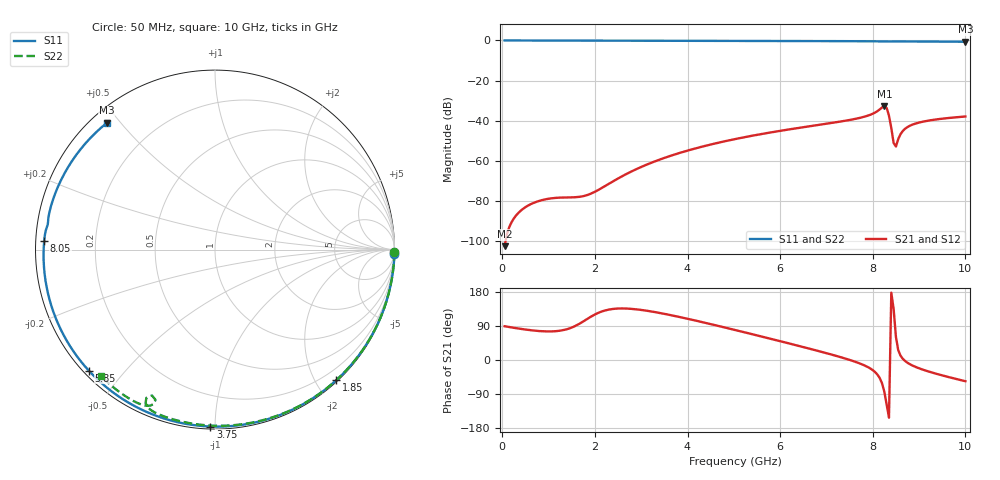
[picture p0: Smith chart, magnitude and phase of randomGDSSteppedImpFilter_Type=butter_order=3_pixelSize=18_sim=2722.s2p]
! freq	dB(S11)	phase(S11)	dB(S12)	phase(S12)
!  dB(S21)	phase(S21)	dB(S22)	phase(S22)
!S-par simulation data
#  GHz  S  DB  R 50
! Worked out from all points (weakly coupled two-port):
!   200 points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, 50 MHz to 10 GHz, reference 50 ohm
!   highest |S21| = -32.69 dB at 8.25 GHz (marker M1); lowest = -102.4 dB at 50 MHz (marker M2)
!   lowest |S11| = -0.6 dB at 10 GHz (marker M3), VSWR 26.81, Z = 2.26 + j23 ohm
!   |S11| at or under -10 dB: nowhere
!   |S22| runs from -1.1 to 0.0 dB; largest |S21 - S12| = 0
!   S11 on the Smith chart (normalised r, x): 50 MHz: 0, -87; 1.85 GHz: 0.02, -2.30; 3.75 GHz: 0.01, -0.97; 5.85 GHz: 0.02, -0.40; 8.05 GHz: 0.02, +0.03; 10 GHz: 0.05, +0.46
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0.05  -0.00 -1.3  -102.42 89.1  -102.42 89.1  -0.00 -0.8
0.85  -0.03 -21.9  -79.53 76.0  -79.53 76.0  -0.02 -12.9
1.75  -0.06 -44.6  -77.51 101.9  -77.51 101.9  -0.03 -26.4
1.85  -0.06 -47.1  -76.84 109.6  -76.84 109.6  -0.04 -27.9
2.75  -0.09 -68.7  -65.67 135.3  -65.67 135.3  -0.05 -41.0
3.4  -0.11 -83.6  -59.30 124.1  -59.30 124.1  -0.07 -50.2
3.75  -0.12 -91.5  -56.57 115.5  -56.57 115.5  -0.07 -55.1
5.05  -0.18 -119.5  -49.00 78.5  -49.00 78.5  -0.11 -72.7
5.85  -0.23 -136.2  -45.58 54.3  -45.58 54.3  -0.14 -83.1
6.7  -0.29 -153.9  -42.50 27.8  -42.50 27.8  -0.18 -93.8
7.65  -0.37 -174.1  -38.91 -5.9  -38.91 -5.9  -0.24 -105.7
8.05  -0.42 177.1  -35.89 -31.9  -35.89 -31.9  -0.32 -111.4
8.25  -0.49 172.5  -32.69 -83.9  -32.69 -83.9  -0.82 -114.8
8.3  -0.52 171.5  -33.60 -117.3  -33.60 -117.3  -1.06 -113.4
8.35  -0.51 170.6  -37.48 -152.2  -37.48 -152.2  -0.91 -111.6
8.45  -0.49 168.4  -51.02 135.1  -51.02 135.1  -0.54 -112.4
8.5  -0.48 167.3  -52.81 61.0  -52.81 61.0  -0.47 -113.3
8.55  -0.49 166.1  -49.09 25.8  -49.09 25.8  -0.43 -114.1
8.65  -0.49 163.8  -45.02 3.0  -45.02 3.0  -0.39 -115.6
8.85  -0.51 159.1  -41.98 -14.2  -41.98 -14.2  -0.37 -118.3
9.25  -0.56 149.5  -39.73 -32.1  -39.73 -32.1  -0.39 -123.2
10  -0.65 130.4  -37.86 -56.0  -37.86 -56.0  -0.46 -131.9
